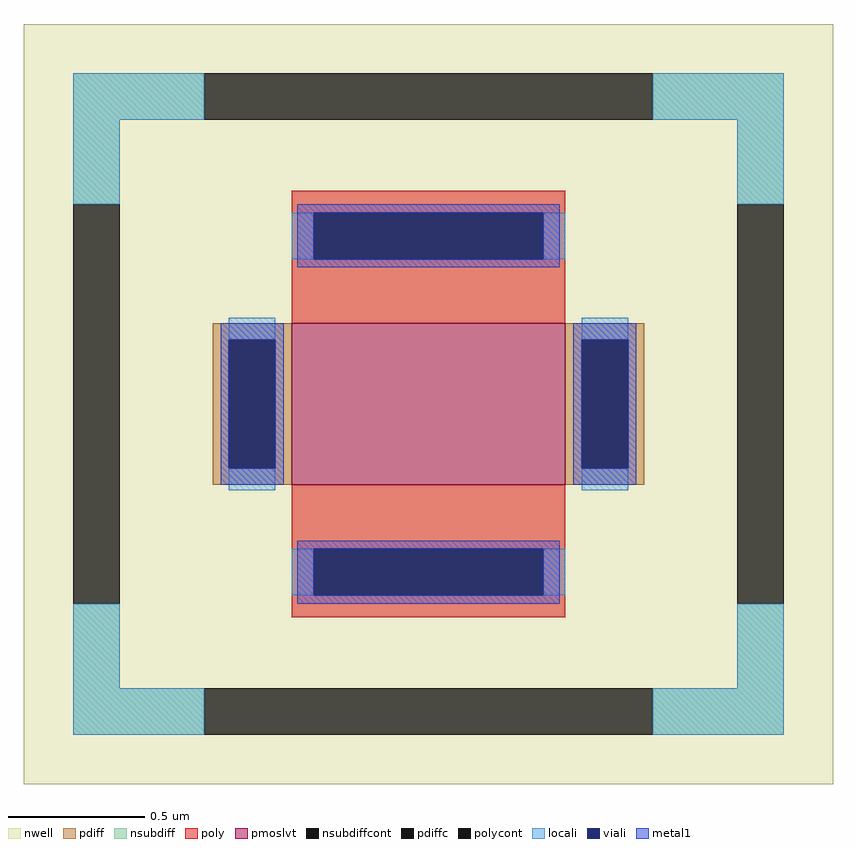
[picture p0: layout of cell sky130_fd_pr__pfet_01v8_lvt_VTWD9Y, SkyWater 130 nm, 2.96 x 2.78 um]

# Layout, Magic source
magic
tech sky130A
magscale 1 2
<< nwell >>
rect -296 -278 296 278
<< pmoslvt >>
rect -100 -59 100 59
<< pdiff >>
rect -158 47 -100 59
rect -158 -47 -146 47
rect -112 -47 -100 47
rect -158 -59 -100 -47
rect 100 47 158 59
rect 100 -47 112 47
rect 146 -47 158 47
rect 100 -59 158 -47
<< pdiffc >>
rect -146 -47 -112 47
rect 112 -47 146 47
<< nsubdiff >>
rect -260 208 -164 242
rect 164 208 260 242
rect -260 146 -226 208
rect 226 146 260 208
rect -260 -208 -226 -146
rect 226 -208 260 -146
rect -260 -242 -164 -208
rect 164 -242 260 -208
<< nsubdiffcont >>
rect -164 208 164 242
rect -260 -146 -226 146
rect 226 -146 260 146
rect -164 -242 164 -208
<< poly >>
rect -100 140 100 156
rect -100 106 -84 140
rect 84 106 100 140
rect -100 59 100 106
rect -100 -106 100 -59
rect -100 -140 -84 -106
rect 84 -140 100 -106
rect -100 -156 100 -140
<< polycont >>
rect -84 106 84 140
rect -84 -140 84 -106
<< locali >>
rect -260 208 -164 242
rect 164 208 260 242
rect -260 146 -226 208
rect 226 146 260 208
rect -100 106 -84 140
rect 84 106 100 140
rect -146 47 -112 63
rect -146 -63 -112 -47
rect 112 47 146 63
rect 112 -63 146 -47
rect -100 -140 -84 -106
rect 84 -140 100 -106
rect -260 -208 -226 -146
rect 226 -208 260 -146
rect -260 -242 -164 -208
rect 164 -242 260 -208
<< viali >>
rect -84 106 84 140
rect -146 -47 -112 47
rect 112 -47 146 47
rect -84 -140 84 -106
<< metal1 >>
rect -96 140 96 146
rect -96 106 -84 140
rect 84 106 96 140
rect -96 100 96 106
rect -152 47 -106 59
rect -152 -47 -146 47
rect -112 -47 -106 47
rect -152 -59 -106 -47
rect 106 47 152 59
rect 106 -47 112 47
rect 146 -47 152 47
rect 106 -59 152 -47
rect -96 -106 96 -100
rect -96 -140 -84 -106
rect 84 -140 96 -106
rect -96 -146 96 -140
<< properties >>
string FIXED_BBOX -243 -225 243 225
string gencell sky130_fd_pr__pfet_01v8_lvt
string library sky130
string parameters w 0.59 l 1.0 m 1 nf 1 diffcov 100 polycov 100 guard 1 glc 1 grc 1 gtc 1 gbc 1 tbcov 100 rlcov 100 topc 1 botc 1 poverlap 0 doverlap 1 lmin 0.35 wmin 0.42 class mosfet compatible {sky130_fd_pr__pfet_01v8  sky130_fd_pr__pfet_01v8_lvt sky130_fd_pr__pfet_01v8_hvt  sky130_fd_pr__pfet_g5v0d10v5} full_metal 1 viasrc 100 viadrn 100 viagate 100 viagb 0 viagr 0 viagl 0 viagt 0 ad {int((nf+1)/2) * W/nf * 0.29} as {int((nf+2)/2) * W/nf * 0.29} pd {2*int((nf+1)/2) * (W/nf + 0.29)} ps {2*int((nf+2)/2) * (W/nf + 0.29)} nrd {0.29 / W} nrs {0.29 / W} sa 0 sb 0 sd 0 mult 1
<< end >>
